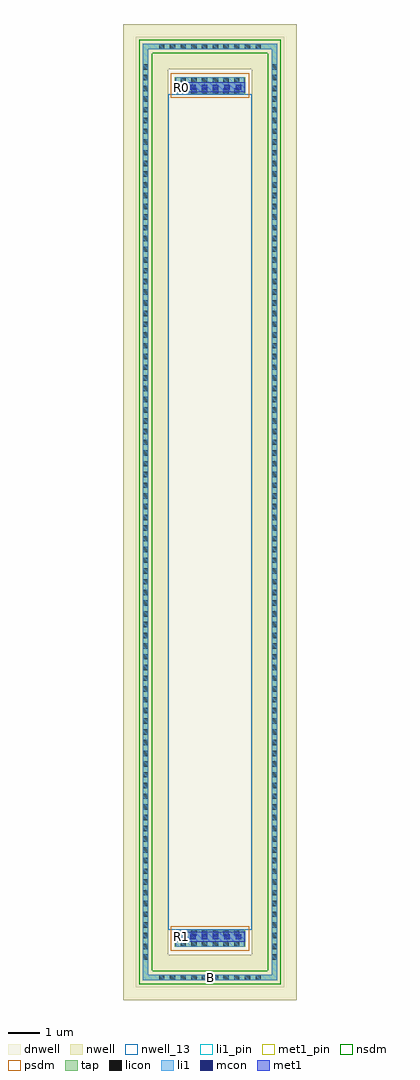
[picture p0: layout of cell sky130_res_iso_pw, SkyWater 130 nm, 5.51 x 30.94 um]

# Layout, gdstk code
import gdstk
lib = gdstk.Library(unit=1e-6, precision=1e-09)
def R(c, l, rs):  # rectangles x0, y0, x1, y1
    for r in rs: c.add(gdstk.rectangle(r[:2], r[2:], *l))
def A(c, l, x, y, w, h, nx, ny, dx, dy):  # array of equal rectangles
    R(c, l, [(x+i*dx, y+j*dy, x+i*dx+w, y+j*dy+h) for i in range(nx) for j in range(ny)])
nwell_13 = (64, 13)
dnwell = (64, 18)
nwell = (64, 20)
tap = (65, 44)
licon = (66, 44)
li1_pin = (67, 16)
li1 = (67, 20)
mcon = (67, 44)
met1_pin = (68, 16)
met1 = (68, 20)
nsdm = (93, 44)
psdm = (94, 20)

res_poly = lib.new_cell('res_poly')
R(res_poly, nwell_13, [(-1.325,-13.25,1.325,13.25)])
R(res_poly, dnwell, [(-2.355,-15.07,2.355,15.07)])
R(res_poly, nwell, [(-2.755,-15.47,2.755,-14.04), (-2.755,-14.04,-1.325,14.04), (1.325,-14.04,2.755,14.04), (-2.755,14.04,2.755,15.47)])
R(res_poly, tap, [(-2.125,-14.84,2.125,-14.67), (-2.125,-14.67,-1.955,14.67), (1.955,-14.67,2.125,14.67), (-1.125,-13.78,1.125,-13.25), (-1.125,13.25,1.125,13.78), (-2.125,14.67,2.125,14.84)])
A(res_poly, licon, -1.615, -14.84, 0.17, 0.17, 10, 2, 0.34, 29.51)
A(res_poly, licon, -2.125, -14.195, 0.17, 0.17, 1, 84, 0, 0.34)
A(res_poly, licon, 1.955, -14.195, 0.17, 0.17, 1, 84, 0, 0.34)
A(res_poly, licon, -0.935, -13.77, 0.17, 0.17, 6, 2, 0.34, 0.34)
A(res_poly, licon, -0.935, 13.26, 0.17, 0.17, 6, 2, 0.34, 0.34)
R(res_poly, li1, [(-2.125,-14.84,2.125,-14.67), (-2.125,-14.67,-1.955,14.67), (1.955,-14.67,2.125,14.67), (-1.085,-13.78,1.085,-13.25), (-1.085,13.25,1.085,13.78), (-2.125,14.67,2.125,14.84)])
A(res_poly, mcon, -0.985, -13.55, 0.17, 0.17, 6, 2, 0.36, 26.93)
R(res_poly, met1, [(-1.125,-13.63,1.125,-13.305), (-1.125,13.305,1.125,13.63)])
R(res_poly, nsdm, [(-2.25,-14.965,2.25,-14.545), (-2.25,-14.545,-1.83,14.545), (1.83,-14.545,2.25,14.545), (-2.25,14.545,2.25,14.965)])
R(res_poly, psdm, [(-1.25,-13.905,1.25,-13.125), (-1.25,13.125,1.25,13.905)])

sky130_res_iso_pw = lib.new_cell('sky130_res_iso_pw')
R(sky130_res_iso_pw, li1_pin, [(-0.085,-14.84,0.085,-14.67)])
R(sky130_res_iso_pw, met1_pin, [(-0.985,-13.55,-0.815,-13.38), (-0.985,13.38,-0.815,13.55)])
sky130_res_iso_pw.add(gdstk.Reference(res_poly, (0,0)))
sky130_res_iso_pw.add(gdstk.Label('R0', (-0.9,13.465), layer=68, texttype=5))
sky130_res_iso_pw.add(gdstk.Label('R1', (-0.9,-13.465), layer=68, texttype=5))
sky130_res_iso_pw.add(gdstk.Label('B', (0,-14.755), layer=67, texttype=5))

lib.write_gds('sky130_res_iso_pw.gds')
